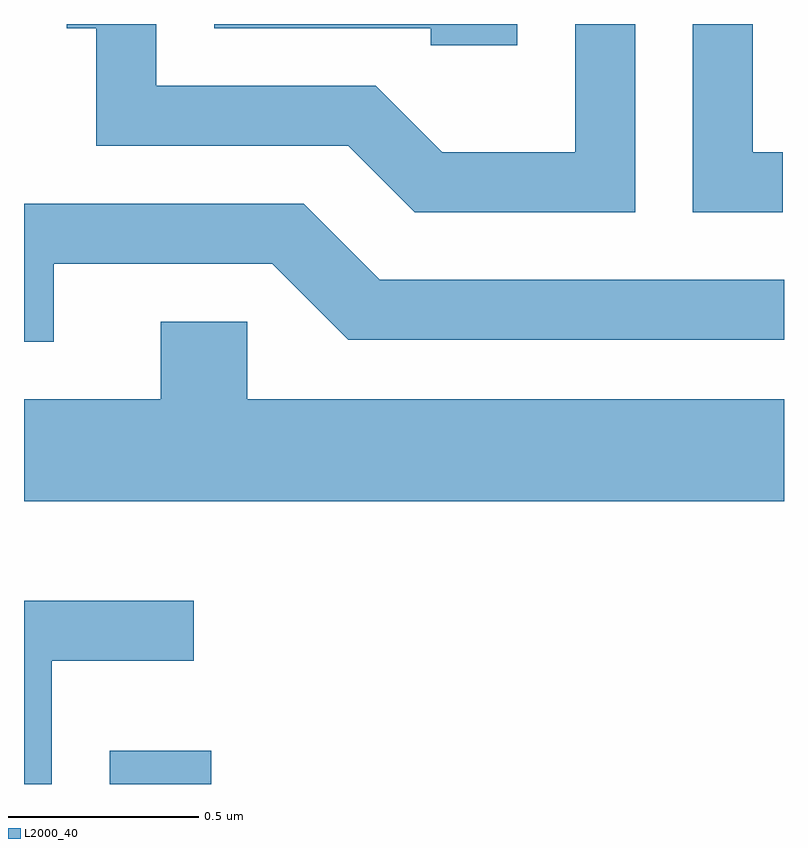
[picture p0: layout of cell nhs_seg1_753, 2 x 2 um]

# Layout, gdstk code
import gdstk
lib = gdstk.Library(unit=1e-6, precision=1e-09)
def R(c, l, rs):  # rectangles x0, y0, x1, y1
    for r in rs: c.add(gdstk.rectangle(r[:2], r[2:], *l))
def P(c, l, *ps):  # polygons
    for p in ps: c.add(gdstk.Polygon(p, *l))
L2000_40 = (2000, 40)

nhs_seg1_753 = lib.new_cell('nhs_seg1_753')
R(nhs_seg1_753, L2000_40, [(190.836,907.712,191.104,907.799)])
P(nhs_seg1_753, L2000_40, [(192.219,909.712),(192.061,909.712),(192.061,909.374),(191.712,909.374),(191.537,909.549),(190.959,909.549),(190.959,909.712),(190.723,909.712),(190.723,909.701),(190.801,909.701),(190.801,909.391),(191.464,909.391),(191.639,909.216),(192.219,909.216)],
  [(191.909,909.712),(191.111,909.712),(191.111,909.701),(191.681,909.701),(191.681,909.656),(191.909,909.656)],
  [(192.608,909.374),(192.529,909.374),(192.529,909.712),(192.371,909.712),(192.371,909.216),(192.608,909.216)],
  [(190.689,909.081),(191.264,909.081),(191.464,908.881),(192.611,908.881),(192.611,909.039),(191.547,909.039),(191.347,909.239),(190.611,909.239),(190.611,908.876),(190.689,908.876)],
  [(192.611,908.724),(191.199,908.724),(191.199,908.929),(190.971,908.929),(190.971,908.724),(190.611,908.724),(190.611,908.456),(192.611,908.456)],
  [(190.684,908.036),(191.058,908.036),(191.058,908.194),(190.611,908.194),(190.611,907.712),(190.684,907.712)])

lib.write_gds('nhs_seg1_753.gds')
